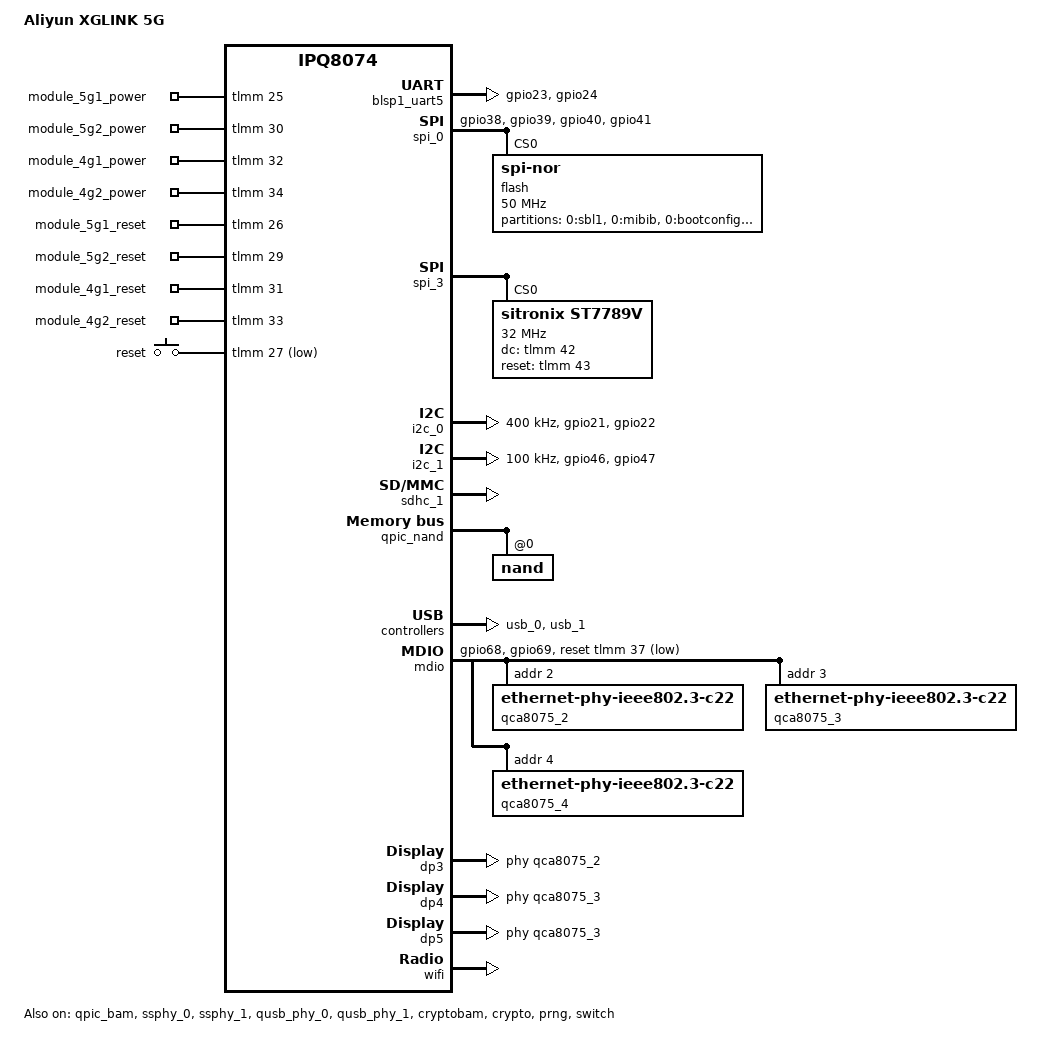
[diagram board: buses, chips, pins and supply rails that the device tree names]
// SPDX-License-Identifier: GPL-2.0-or-later OR MIT

/dts-v1/;

#include "ipq8074.dtsi"
#include "ipq8074-hk-cpu.dtsi"
#include "ipq8074-ess.dtsi"
#include "ipq8074-nss.dtsi"
#include <dt-bindings/gpio/gpio.h>
#include <dt-bindings/input/input.h>

/ {
	model = "Aliyun XGLINK 5G";
	compatible = "aliyun,xglink5g", "qcom,ipq8074";

	aliases {
		serial0 = &blsp1_uart5;
		led-boot = &led_power;
		led-failsafe = &led_power;
		led-running = &led_power;
		led-upgrade = &led_power;
		ethernet0 = &dp3;
		ethernet1 = &dp4;
		ethernet2 = &dp5;
		label-mac-device = &dp3;
	};

	chosen {
		stdout-path = "serial0:115200n8";
		bootargs-append = " root=/dev/ubiblock0_1";
	};

	gpio-export {
		compatible = "gpio-export";

		module_5g1_power {
			gpio-export,name = "module_5g1_power";
			gpio-export,output = <1>;
			gpios = <&tlmm 25 GPIO_ACTIVE_HIGH>;
		};

		module_5g2_power {
			gpio-export,name = "module_5g2_power";
			gpio-export,output = <1>;
			gpios = <&tlmm 30 GPIO_ACTIVE_HIGH>;
		};

		module_4g1_power {
			gpio-export,name = "module_4g1_power";
			gpio-export,output = <1>;
			gpios = <&tlmm 32 GPIO_ACTIVE_HIGH>;
		};

		module_4g2_power {
			gpio-export,name = "module_4g2_power";
			gpio-export,output = <1>;
			gpios = <&tlmm 34 GPIO_ACTIVE_HIGH>;
		};

		module_5g1_reset {
			gpio-export,name = "module_5g1_reset";
			gpio-export,output = <1>;
			gpios = <&tlmm 26 GPIO_ACTIVE_HIGH>;
		};

		module_5g2_reset {
			gpio-export,name = "module_5g2_reset";
			gpio-export,output = <1>;
			gpios = <&tlmm 29 GPIO_ACTIVE_HIGH>;
		};

		module_4g1_reset {
			gpio-export,name = "module_4g1_reset";
			gpio-export,output = <1>;
			gpios = <&tlmm 31 GPIO_ACTIVE_HIGH>;
		};

		module_4g2_reset {
			gpio-export,name = "module_4g2_reset";
			gpio-export,output = <1>;
			gpios = <&tlmm 33 GPIO_ACTIVE_HIGH>;
		};
	};

	keys {
		compatible = "gpio-keys";

		reset {
			label = "reset";
			linux,code = <KEY_RESTART>;
			gpios = <&tlmm 27 GPIO_ACTIVE_LOW>;
		};
	};

	leds {
		compatible = "gpio-leds";
	};
};

&tlmm {
	mdio_pins: mdio-pins {
		mdc {
			pins = "gpio68";
			function = "mdc";
			drive-strength = <8>;
			bias-pull-up;
		};

		mdio {
			pins = "gpio69";
			function = "mdio";
			drive-strength = <8>;
			bias-pull-up;
		};
	};

	serial4_pins: serial4-state {
		pins = "gpio23", "gpio24";
		function = "blsp4_uart1";
		drive-strength = <8>;
		bias-disable;
	};

	spi_0_pins: spi-0-state {
		pins = "gpio38", "gpio39", "gpio40", "gpio41";
		function = "blsp0_spi";
		drive-strength = <8>;
		bias-disable;
	};

	spi_3_pins {
		phandle = <0x1a>;

		mux {
			pins = "gpio50", "gpio51", "gpio52", "gpio53";
			function = "blsp3_spi";
			drive-strength = <0x08>;
			bias-disable;
		};

		dc {
			pins = "gpio42";
			function = "gpio";
			drive-strength = <0x08>;
			bias-pull-up;
		};

		reset {
			pins = "gpio43";
			function = "gpio";
			drive-strength = <0x08>;
			bias-pull-up;
		};
	};

	i2c_0_pins: i2c-0-state {
		pins = "gpio21", "gpio22";
		function = "blsp4_i2c1";
		drive-strength = <8>;
		bias-disable;
	};

	i2c_1_pins: i2c-1-state {
		pins = "gpio46", "gpio47";
		function = "blsp2_i2c";
		drive-strength = <8>;
		bias-disable;
	};
};

&blsp1_uart5 {
	pinctrl-0 = <&serial4_pins>;
	pinctrl-names = "default";
	status = "okay";
};

&spi_0 {
	pinctrl-0 = <&spi_0_pins>;
	pinctrl-names = "default";
	status = "okay";
	cs-gpios = <0>;

	flash@0 {
		compatible = "jedec,spi-nor";
		reg = <0>;
		spi-max-frequency = <50000000>;
		#address-cells = <1>;
		#size-cells = <1>;

		partitions {
			compatible = "fixed-partitions";
			#address-cells = <1>;
			#size-cells = <1>;

			partition@0 {
				label = "0:sbl1";
				reg = <0x0 0x50000>;
				read-only;
			};

			partition@50000 {
				label = "0:mibib";
				reg = <0x50000 0x10000>;
				read-only;
			};

			partition@60000 {
				label = "0:bootconfig";
				reg = <0x60000 0x20000>;
				read-only;
			};

			partition@80000 {
				label = "0:bootconfig1";
				reg = <0x80000 0x20000>;
				read-only;
			};

			partition@a0000 {
				label = "0:qsee";
				reg = <0xa0000 0x180000>;
				read-only;
			};

			partition@220000 {
				label = "0:qsee_1";
				reg = <0x220000 0x180000>;
				read-only;
			};

			partition@3a0000 {
				label = "0:devcfg";
				reg = <0x3a0000 0x10000>;
				read-only;
			};

			partition@3b0000 {
				label = "0:devcfg_1";
				reg = <0x3b0000 0x10000>;
				read-only;
			};

			partition@3c0000 {
				label = "0:apdp";
				reg = <0x3c0000 0x10000>;
				read-only;
			};

			partition@3d0000 {
				label = "0:apdp_1";
				reg = <0x3d0000 0x10000>;
				read-only;
			};

			partition@3e0000 {
				label = "0:rpm";
				reg = <0x3e0000 0x40000>;
				read-only;
			};

			partition@420000 {
				label = "0:rpm_1";
				reg = <0x420000 0x40000>;
				read-only;
			};

			partition@460000 {
				label = "0:cdt";
				reg = <0x460000 0x10000>;
				read-only;
			};

			partition@470000 {
				label = "0:cdt_1";
				reg = <0x470000 0x10000>;
				read-only;
			};

			partition@480000 {
				label = "0:appsblenv";
				reg = <0x480000 0x10000>;
			};

			partition@490000 {
				label = "0:appsbl_1";
				reg = <0x490000 0x100000>;
			};

			partition@590000 {
				label = "0:appsbl";
				reg = <0x590000 0x100000>;
			};

			partition@690000 {
				label = "0:art";
				reg = <0x690000 0x40000>;
				read-only;
			};

			partition@6d0000 {
				label = "0:ethphyfw";
				reg = <0x6d0000 0x80000>;
				read-only;
			};
		};
	};
};

&spi_3 {
	pinctrl-0 = <&spi_3_pins>;
	pinctrl-names = "default";
	status = "okay";
	cs-select = <0>;

	st7789v@0 {
		compatible = "sitronix,st7789v";
		reg = <0>;
		spi-max-frequency = <32000000>;
		buswidth = <8>;
		rotate = <90>;
		dc-gpios = <&tlmm 42 GPIO_ACTIVE_HIGH>;
		reset-gpios = <&tlmm 43 GPIO_ACTIVE_HIGH>;
	};
};

&i2c_0 {
	pinctrl-0 = <&i2c_0_pins>;
	pinctrl-names = "default";
	clock-frequency = <400000>;
	status = "okay";
};

&i2c_1 {
	pinctrl-0 = <&i2c_1_pins>;
	pinctrl-names = "default";
	clock-frequency = <100000>;
	status = "okay";
};

&sdhc_1 {
	status = "okay";
};

&qpic_bam {
	status = "okay";
};

&qpic_nand {
	status = "okay";

	nand@0 {
		reg = <0>;
		nand-ecc-strength = <8>;
		nand-ecc-step-size = <512>;
		nand-bus-width = <8>;

		partitions {
			compatible = "qcom,smem-part";
		};
	};
};

&ssphy_0 {
	status = "okay";
};

&ssphy_1 {
	status = "okay";
};

&qusb_phy_0 {
	status = "okay";
};

&qusb_phy_1 {
	status = "okay";
};

&usb_0 {
	status = "okay";
};

&usb_1 {
	status = "okay";
};

&cryptobam {
	status = "okay";
};

&crypto {
	status = "okay";
};

&prng {
	status = "okay";
};

&mdio {
	status = "okay";

	pinctrl-0 = <&mdio_pins>;
	pinctrl-names = "default";
	reset-gpios = <&tlmm 37 GPIO_ACTIVE_LOW>;

	qca8075_2: ethernet-phy@2 {
		compatible = "ethernet-phy-ieee802.3-c22";
		reg = <2>;
	};

	qca8075_3: ethernet-phy@3 {
		compatible = "ethernet-phy-ieee802.3-c22";
		reg = <3>;
	};

	qca8075_4: ethernet-phy@4 {
		compatible = "ethernet-phy-ieee802.3-c22";
		reg = <4>;
	};
};

&switch {
	status = "okay";

	switch_lan_bmp = <(ESS_PORT3 | ESS_PORT4)>; /* lan port bitmap */
	switch_wan_bmp = <ESS_PORT2>; /* wan port bitmap */
	switch_mac_mode = <MAC_MODE_PSGMII>; /* mac mode for uniphy instance0*/
	switch_mac_mode1 = <MAC_MODE_SGMII_CHANNEL0>; /* mac mode for uniphy instance1*/
	switch_mac_mode2 = <MAC_MODE_SGMII_CHANNEL0>; /* mac mode for uniphy instance2*/

	qcom,port_phyinfo {
		port@2 {
			port_id = <3>;
			phy_address = <2>;
		};
		port@3 {
			port_id = <4>;
			phy_address = <3>;
		};
		port@4 {
			port_id = <5>;
			phy_address = <4>;
		};
	};
};

&edma {
	status = "okay";
};

&dp3 {
	status = "okay";
	phy-handle = <&qca8075_2>;
	label = "wan";
};

&dp4 {
	status = "okay";
	phy-handle = <&qca8075_3>;
	label = "lan1";
};

&dp5 {
	status = "okay";
	phy-handle = <&qca8075_3>;
	label = "lan2";
};

&wifi {
	status = "okay";
	qcom,ath11k-fw-memory-mode = <1>;
	qcom,ath11k-calibration-variant = "ALIYUN-XGLINK5G";
};
